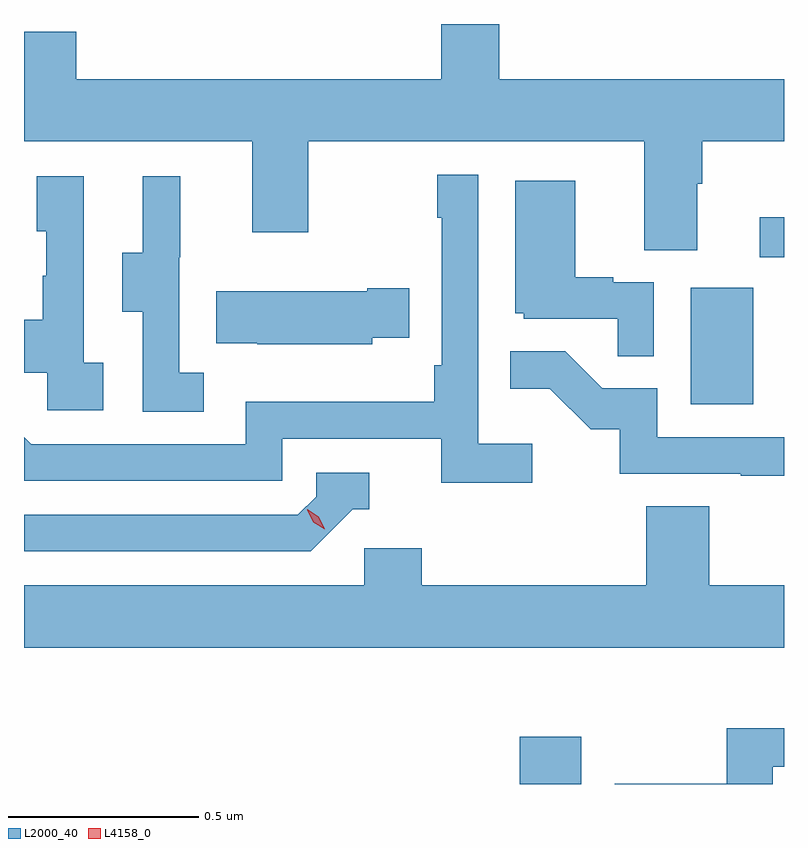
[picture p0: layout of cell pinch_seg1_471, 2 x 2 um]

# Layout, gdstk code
import gdstk
lib = gdstk.Library(unit=1e-6, precision=1e-09)
def R(c, l, rs):  # rectangles x0, y0, x1, y1
    for r in rs: c.add(gdstk.rectangle(r[:2], r[2:], *l))
def P(c, l, *ps):  # polygons
    for p in ps: c.add(gdstk.Polygon(p, *l))
L2000_40 = (2000, 40)
L4158_0 = (4158, 0)

pinch_seg1_471 = lib.new_cell('pinch_seg1_471')
R(pinch_seg1_471, L2000_40, [(975.434,511.413,975.595,511.537), (975.884,512.412,976.048,512.719), (976.065,512.799,976.129,512.905)])
P(pinch_seg1_471, L2000_40, [(975.901,512.992),(975.914,512.992),(975.914,513.104),(976.129,513.104),(976.129,513.268),(975.38,513.268),(975.38,513.413),(975.227,513.413),(975.227,513.268),(974.267,513.268),(974.267,513.392),(974.129,513.392),(974.129,513.104),(974.729,513.104),(974.729,512.865),(974.877,512.865),(974.877,513.104),(975.761,513.104),(975.761,512.818),(975.901,512.818)],
  [(975.466,512.308),(975.324,512.308),(975.324,513.016),(975.216,513.016),(975.216,512.903),(975.228,512.903),(975.228,512.515),(975.208,512.515),(975.208,512.419),(974.712,512.419),(974.712,512.307),(974.148,512.307),(974.129,512.326),(974.129,512.211),(974.808,512.211),(974.808,512.322),(975.227,512.322),(975.227,512.206),(975.466,512.206)],
  [(974.602,512.495),(974.538,512.495),(974.538,512.799),(974.54,512.799),(974.54,513.013),(974.441,513.013),(974.441,512.811),(974.387,512.811),(974.387,512.656),(974.442,512.656),(974.442,512.392),(974.602,512.392)],
  [(974.338,512.522),(974.286,512.522),(974.286,513.013),(974.162,513.013),(974.162,512.868),(974.188,512.868),(974.188,512.75),(974.178,512.75),(974.178,512.635),(974.129,512.635),(974.129,512.495),(974.19,512.495),(974.19,512.397),(974.338,512.397)],
  [(975.786,512.733),(975.68,512.733),(975.68,512.746),(975.58,512.746),(975.58,513.001),(975.422,513.001),(975.422,512.652),(975.444,512.652),(975.444,512.637),(975.691,512.637),(975.691,512.539),(975.786,512.539)],
  [(975.045,512.588),(975.143,512.588),(975.143,512.718),(975.032,512.718),(975.032,512.71),(974.635,512.71),(974.635,512.573),(974.743,512.573),(974.743,512.57),(975.045,512.57)],
  [(976.129,512.325),(975.795,512.325),(975.795,512.454),(975.651,512.454),(975.553,512.552),(975.409,512.552),(975.409,512.453),(975.513,512.453),(975.62,512.346),(975.697,512.346),(975.697,512.229),(976.015,512.229),(976.015,512.224),(976.129,512.224)],
  [(974.994,512.136),(975.037,512.136),(975.037,512.232),(974.898,512.232),(974.898,512.169),(974.85,512.121),(974.129,512.121),(974.129,512.025),(974.883,512.025)],
  [(976.129,511.936),(975.932,511.936),(975.932,512.144),(975.767,512.144),(975.767,511.936),(975.176,511.936),(975.176,512.034),(975.024,512.034),(975.024,511.936),(974.129,511.936),(974.129,511.772),(976.129,511.772)],
  [(976.099,511.459),(976.129,511.459),(976.129,511.56),(975.978,511.56),(975.978,511.414),(975.684,511.414),(975.684,511.413),(976.099,511.413)])
P(pinch_seg1_471, L4158_0, [(974.921,512.083),(974.89,512.102),(974.874,512.135),(974.874,512.136),(974.875,512.136),(974.905,512.116),(974.921,512.083),(974.921,512.083)])

lib.write_gds('pinch_seg1_471.gds')
